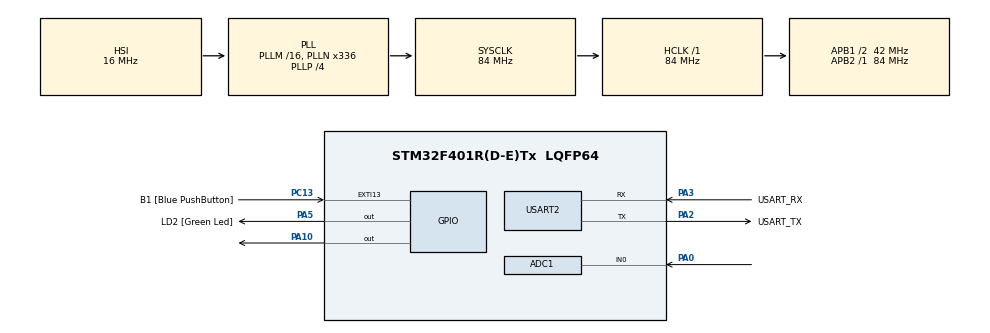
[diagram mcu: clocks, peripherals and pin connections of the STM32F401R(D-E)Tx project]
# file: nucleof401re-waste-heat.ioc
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ADC1.Channel-1\#ChannelRegularConversion=ADC_CHANNEL_0
ADC1.NbrOfConversionFlag=1
ADC1.Rank-1\#ChannelRegularConversion=1
ADC1.SamplingTime-1\#ChannelRegularConversion=ADC_SAMPLETIME_3CYCLES
ADC1.master=1
Mcu.Family=STM32F4
Mcu.Name=STM32F401R(D-E)Tx
Mcu.Package=LQFP64
NVIC.PriorityGroup=NVIC_PRIORITYGROUP_0
PA0-WKUP.Signal=ADCx_IN0
PA10.Signal=GPIO_Output
PA13.GPIO_Label=TMS
PA13.Mode=Serial_Wire
PA13.Signal=SYS_JTMS-SWDIO
PA14.GPIO_Label=TCK
PA14.Mode=Serial_Wire
PA14.Signal=SYS_JTCK-SWCLK
PA2.GPIO_Label=USART_TX
PA2.GPIO_Mode=GPIO_MODE_AF_PP
PA2.GPIO_PuPd=GPIO_NOPULL
PA2.GPIO_Speed=GPIO_SPEED_FREQ_LOW
PA2.Mode=Asynchronous
PA2.Signal=USART2_TX
PA3.GPIO_Label=USART_RX
PA3.GPIO_Mode=GPIO_MODE_AF_PP
PA3.GPIO_PuPd=GPIO_NOPULL
PA3.GPIO_Speed=GPIO_SPEED_FREQ_LOW
PA3.Mode=Asynchronous
PA3.Signal=USART2_RX
PA5.GPIO_Label=LD2 [Green Led]
PA5.GPIO_Mode=GPIO_MODE_OUTPUT_PP
PA5.GPIO_PuPd=GPIO_NOPULL
PA5.GPIO_Speed=GPIO_SPEED_FREQ_LOW
PA5.Signal=GPIO_Output
PB3.GPIO_Label=SWO
PB3.Signal=SYS_JTDO-SWO
PC13-ANTI_TAMP.GPIO_Label=B1 [Blue PushButton]
PC13-ANTI_TAMP.GPIO_ModeDefaultEXTI=GPIO_MODE_IT_FALLING
PC13-ANTI_TAMP.GPIO_PuPd=GPIO_NOPULL
PC13-ANTI_TAMP.Signal=GPXTI13
PC14-OSC32_IN.Mode=LSE-External-Oscillator
PC14-OSC32_IN.Signal=RCC_OSC32_IN
PC15-OSC32_OUT.Mode=LSE-External-Oscillator
PC15-OSC32_OUT.Signal=RCC_OSC32_OUT
PH0\ -\ OSC_IN.Mode=HSE-External-Clock-Source
PH0\ -\ OSC_IN.Signal=RCC_OSC_IN
PH1\ -\ OSC_OUT.Mode=HSE-External-Clock-Source
PH1\ -\ OSC_OUT.Signal=RCC_OSC_OUT
ProjectManager.HeapSize=0x200
ProjectManager.StackSize=0x400
ProjectManager.TargetToolchain=STM32CubeIDE
RCC.48MHZClocksFreq_Value=48000000
RCC.AHBFreq_Value=84000000
RCC.APB1CLKDivider=RCC_HCLK_DIV2
RCC.APB1Freq_Value=42000000
RCC.APB1TimFreq_Value=84000000
RCC.APB2Freq_Value=84000000
RCC.APB2TimFreq_Value=84000000
RCC.CortexFreq_Value=84000000
RCC.HCLKFreq_Value=84000000
RCC.HSE_VALUE=8000000
RCC.HSI_VALUE=16000000
RCC.PLLN=336
RCC.PLLP=RCC_PLLP_DIV4
RCC.PLLQ=7
RCC.SYSCLKFreq_VALUE=84000000
RCC.SYSCLKSource=RCC_SYSCLKSOURCE_PLLCLK
RCC.VCOOutputFreq_Value=336000000
SH.ADCx_IN0.0=ADC1_IN0,IN0
USART2.VirtualMode=VM_ASYNC
board=NUCLEO-F401RE

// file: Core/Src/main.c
/* USER CODE BEGIN Header */
/**
  ******************************************************************************
  * @file           : main.c
  * @brief          : Main program body
  ******************************************************************************
  * @attention
  *
  * Copyright (c) 2022 STMicroelectronics.
  * All rights reserved.
  *
  * This software is licensed under terms that can be found in the LICENSE file
  * in the root directory of this software component.
  * If no LICENSE file comes with this software, it is provided AS-IS.
  *
  ******************************************************************************
  */
/* USER CODE END Header */
#include "main.h"

/* USER CODE BEGIN Includes */
#include "string.h"
#include "stdio.h"
/* USER CODE END Includes */

/* USER CODE BEGIN PD */
#define WATER_DENSITY 997.77          // [ kg / (m^3)  ]
#define WATER_HEAT_CAPACITY 4.186     // [ J / g / K   ]
#define DAILY_USE 2.0                 // [ hours / day ]
#define YEARLY_USE 365                // [ days / year ]
#define UNIT_PRICE 0.13               // [ $ / kWh     ]
#define ALT_RATED_POWER 1700.0        // [ W / hour    ]
#define ALT_INITIAL_COST 944.0        // [ $CAD        ]
#define ALT_REBATE_PERCENT 0.25       // [ %           ]
/* USER CODE END PD */

ADC_HandleTypeDef hadc1;

UART_HandleTypeDef huart2;

void SystemClock_Config(void);
static void MX_GPIO_Init(void);
static void MX_USART2_UART_Init(void);
static void MX_ADC1_Init(void);
/* USER CODE BEGIN PFP */

long double raw_to_VOUT(uint16_t raw_input);
long double VOUT_to_resist(long double VOUT);
long double resist_to_temp(long double resist);
double water_mass_weight(double weight_container,
                         double weight_water_container);
double water_mass_volume(double volume);
double energy_transferred(double water_mass, double *temp_array,
                          int temp_array_size);
double power(double energy, double time);
double efficiency(double useful_power, double rated_power);
double annual_energy(double power, double daily_use, int yearly_use);
double waste_energy(double energy, double efficiency);
double energy_variable_cost(double energy, double unit_price);
double ROI(double initial_cost, double annual_savings);

/* USER CODE END PFP */

int main(void)
{
  /* USER CODE BEGIN 1 */
	uint16_t raw_input = 0;
	char text[100] = {0};
  /* USER CODE END 1 */

  /* MCU Configuration--------------------------------------------------------*/

  /* Reset of all peripherals, Initializes the Flash interface and the Systick. */
  HAL_Init();

  /* Configure the system clock */
  SystemClock_Config();

  /* Initialize all configured peripherals */
  MX_GPIO_Init();
  MX_USART2_UART_Init();
  MX_ADC1_Init();

  /* Infinite loop */
  /* USER CODE BEGIN WHILE */
  while (1)
  {
	  HAL_GPIO_WritePin(GPIOA, GPIO_PIN_10, GPIO_PIN_SET); //Set GPIO high (for timing purposes)

	  HAL_ADC_Start(&hadc1); // Read from ADC
	  HAL_ADC_PollForConversion(&hadc1, HAL_MAX_DELAY); // Wait for analog to digital conversion
	  raw_input = HAL_ADC_GetValue(&hadc1); // Get digital val (0 = 0V, 4095 = max voltage in - ex: 3.3V for 3.3V pin or 5V for 5V pin)

	  // Convert raw to resistance
	  long double VOUT = raw_to_VOUT(raw_input);
	  long double resist = VOUT_to_resist(VOUT);
	  long double temp = resist_to_temp(resist);

	  HAL_GPIO_WritePin(GPIOA, GPIO_PIN_10, GPIO_PIN_RESET); //Set GPIO low (for timing purposes)

	  // Convert resistance to string and print
	  sprintf(text, "R: %Lf\r\n", resist); // % means insert, Lf for long floating point (long double), \r\n for return new line
	  sprintf(text, "T: %Lf\r\n", temp); // % means insert, Lf for long floating point (long double), \r\n for return new line
	  HAL_UART_Transmit(&huart2, (uint8_t*)text, strlen(text), HAL_MAX_DELAY);

	  // Wait another second (CHANGED to TWO TEMPORARILY)
	  HAL_Delay(1995);
    /* USER CODE END WHILE */

  }
}

void SystemClock_Config(void)
{
  RCC_OscInitTypeDef RCC_OscInitStruct = {0};
  RCC_ClkInitTypeDef RCC_ClkInitStruct = {0};

  /** Configure the main internal regulator output voltage
  */
  __HAL_RCC_PWR_CLK_ENABLE();
  __HAL_PWR_VOLTAGESCALING_CONFIG(PWR_REGULATOR_VOLTAGE_SCALE2);

  /** Initializes the RCC Oscillators according to the specified parameters
  * in the RCC_OscInitTypeDef structure.
  */
  RCC_OscInitStruct.OscillatorType = RCC_OSCILLATORTYPE_HSI;
  RCC_OscInitStruct.HSIState = RCC_HSI_ON;
  RCC_OscInitStruct.HSICalibrationValue = RCC_HSICALIBRATION_DEFAULT;
  RCC_OscInitStruct.PLL.PLLState = RCC_PLL_ON;
  RCC_OscInitStruct.PLL.PLLSource = RCC_PLLSOURCE_HSI;
  RCC_OscInitStruct.PLL.PLLM = 16;
  RCC_OscInitStruct.PLL.PLLN = 336;
  RCC_OscInitStruct.PLL.PLLP = RCC_PLLP_DIV4;
  RCC_OscInitStruct.PLL.PLLQ = 7;
  if (HAL_RCC_OscConfig(&RCC_OscInitStruct) != HAL_OK)
  {
    Error_Handler();
  }

  /** Initializes the CPU, AHB and APB buses clocks
  */
  RCC_ClkInitStruct.ClockType = RCC_CLOCKTYPE_HCLK|RCC_CLOCKTYPE_SYSCLK
                              |RCC_CLOCKTYPE_PCLK1|RCC_CLOCKTYPE_PCLK2;
  RCC_ClkInitStruct.SYSCLKSource = RCC_SYSCLKSOURCE_PLLCLK;
  RCC_ClkInitStruct.AHBCLKDivider = RCC_SYSCLK_DIV1;
  RCC_ClkInitStruct.APB1CLKDivider = RCC_HCLK_DIV2;
  RCC_ClkInitStruct.APB2CLKDivider = RCC_HCLK_DIV1;

  if (HAL_RCC_ClockConfig(&RCC_ClkInitStruct, FLASH_LATENCY_2) != HAL_OK)
  {
    Error_Handler();
  }
}

static void MX_ADC1_Init(void)
{

  ADC_ChannelConfTypeDef sConfig = {0};

  /** Configure the global features of the ADC (Clock, Resolution, Data Alignment and number of conversion)
  */
  hadc1.Instance = ADC1;
  hadc1.Init.ClockPrescaler = ADC_CLOCK_SYNC_PCLK_DIV4;
  hadc1.Init.Resolution = ADC_RESOLUTION_12B;
  hadc1.Init.ScanConvMode = DISABLE;
  hadc1.Init.ContinuousConvMode = DISABLE;
  hadc1.Init.DiscontinuousConvMode = DISABLE;
  hadc1.Init.ExternalTrigConvEdge = ADC_EXTERNALTRIGCONVEDGE_NONE;
  hadc1.Init.ExternalTrigConv = ADC_SOFTWARE_START;
  hadc1.Init.DataAlign = ADC_DATAALIGN_RIGHT;
  hadc1.Init.NbrOfConversion = 1;
  hadc1.Init.DMAContinuousRequests = DISABLE;
  hadc1.Init.EOCSelection = ADC_EOC_SINGLE_CONV;
  if (HAL_ADC_Init(&hadc1) != HAL_OK)
  {
    Error_Handler();
  }

  /** Configure for the selected ADC regular channel its corresponding rank in the sequencer and its sample time.
  */
  sConfig.Channel = ADC_CHANNEL_0;
  sConfig.Rank = 1;
  sConfig.SamplingTime = ADC_SAMPLETIME_3CYCLES;
  if (HAL_ADC_ConfigChannel(&hadc1, &sConfig) != HAL_OK)
  {
    Error_Handler();
  }

}

static void MX_USART2_UART_Init(void)
{

  huart2.Instance = USART2;
  huart2.Init.BaudRate = 115200;
  huart2.Init.WordLength = UART_WORDLENGTH_8B;
  huart2.Init.StopBits = UART_STOPBITS_1;
  huart2.Init.Parity = UART_PARITY_NONE;
  huart2.Init.Mode = UART_MODE_TX_RX;
  huart2.Init.HwFlowCtl = UART_HWCONTROL_NONE;
  huart2.Init.OverSampling = UART_OVERSAMPLING_16;
  if (HAL_UART_Init(&huart2) != HAL_OK)
  {
    Error_Handler();
  }

}

static void MX_GPIO_Init(void)
{
  GPIO_InitTypeDef GPIO_InitStruct = {0};

  /* GPIO Ports Clock Enable */
  __HAL_RCC_GPIOC_CLK_ENABLE();
  __HAL_RCC_GPIOH_CLK_ENABLE();
  __HAL_RCC_GPIOA_CLK_ENABLE();
  __HAL_RCC_GPIOB_CLK_ENABLE();

  /*Configure GPIO pin Output Level */
  HAL_GPIO_WritePin(GPIOA, LD2_Pin|GPIO_PIN_10, GPIO_PIN_RESET);

  /*Configure GPIO pin : B1_Pin */
  GPIO_InitStruct.Pin = B1_Pin;
  GPIO_InitStruct.Mode = GPIO_MODE_IT_FALLING;
  GPIO_InitStruct.Pull = GPIO_NOPULL;
  HAL_GPIO_Init(B1_GPIO_Port, &GPIO_InitStruct);

  /*Configure GPIO pins : LD2_Pin PA10 */
  GPIO_InitStruct.Pin = LD2_Pin|GPIO_PIN_10;
  GPIO_InitStruct.Mode = GPIO_MODE_OUTPUT_PP;
  GPIO_InitStruct.Pull = GPIO_NOPULL;
  GPIO_InitStruct.Speed = GPIO_SPEED_FREQ_LOW;
  HAL_GPIO_Init(GPIOA, &GPIO_InitStruct);

}

/* USER CODE BEGIN 4 */

// ========= TEMP UTILS ==============
long double raw_to_VOUT(uint16_t raw_input) {
	long double VOUT = (long double)raw_input * (long double)5 / (long double)4095;
	return VOUT;
}

long double VOUT_to_resist(long double VOUT) {
	long double resist = ((long double)-12 * VOUT) / (VOUT - (long double)5 );
	return resist;
}

long double resist_to_temp(long double resist) {
	long double base = 35.0; // Resistance at 25 degrees celsius
	long double change = 2.0; // Resistance increase per degree celsius
	return 25 + ((resist - base) / change);
}

// ============ PHYS UTILS ==============
long double water_mass_weight(long double weight_container, long double weight_water_container) {
	long double weight_water = (weight_water_container - weight_container) / 1000;
  return weight_water;
}
long double water_mass_volume(long double volume) {
  return (volume / 1000) * (WATER_DENSITY / 1000);
}
long double energy_transferred(long double water_mass, long double* temp_array) {
  long double change_temperature = *(temp_array + 1) - *temp_array;
  long double energy = water_mass * (WATER_HEAT_CAPACITY * 1000) * change_temperature;
  return energy;
}
long double power(long double energy, long double time) {
  return energy / time;
}
long double efficiency(long double useful_power, long double rated_power) {
  return useful_power / rated_power;
}
long double annual_energy(long double power, long double daily_use, int yearly_use) {
  long double time_in_seconds = 3600 * daily_use * yearly_use;
  return power * time_in_seconds;
}
long double waste_energy(long double energy, long double efficiency) {
  return energy * (1 - efficiency);
}
long double energy_variable_cost(long double energy, long double unit_price) {
  return energy * unit_price;
}
long double ROI(long double initial_cost, long double annual_savings) {
  return initial_cost / annual_savings;
}

/* USER CODE END 4 */

void Error_Handler(void)
{
  __disable_irq();
  while (1)
  {
  }
}
